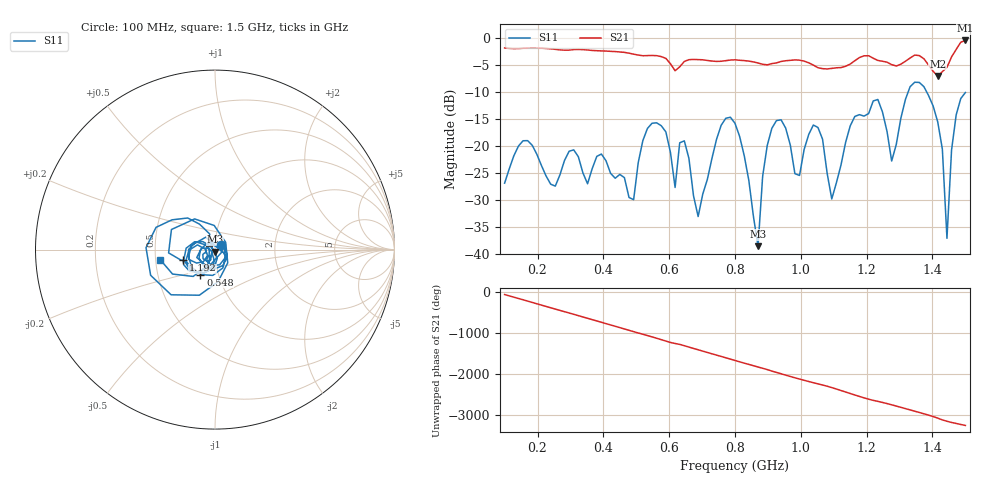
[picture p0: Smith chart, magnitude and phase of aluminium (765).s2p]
! NanoVNA-App
! Date: 2025-09-25 15:01:14
! Start: 100MHz Stop: 1,5GHz Points: 101
! S-Parameter data: F S11 S21 S12 S22
# Hz S RI R 50
!  Frequency  S11_Real  S11_Imag  S21_Real  S21_Imag  S12_Real  S12_Imag  S22_Real  S22_Imag
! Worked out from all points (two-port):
!   101 points, 100 MHz to 1.5 GHz, reference 50 ohm
!   highest |S21| = -0.52 dB at 1.5 GHz (marker M1); lowest = -7.1 dB at 1.416 GHz (marker M2)
!   |S21| within 3 dB of the highest: start of sweep to 576.4 MHz; 1.458 GHz to end of sweep (the widest 2 of 4)
!   lowest |S11| = -38.6 dB at 870 MHz (marker M3), VSWR 1.02, Z = 50 - j1.17 ohm
!   |S11| at or under -10 dB: start of sweep to 1.327 GHz; 1.382 GHz to end of sweep
!   S12 and S22 are empty: the file has one direction only
!   S11 on the Smith chart (normalised r, x): 100 MHz: 1.07, +0.06; 548 MHz: 0.82, -0.23; 1.192 GHz: 0.69, -0.09; 1.5 GHz: 0.53, -0.07
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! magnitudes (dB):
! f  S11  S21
! 100 MHz  -27.0  -1.9
! 156 MHz  -19.1  -2.0
! 338 MHz  -25.1  -2.2
! 492 MHz  -30.0  -3.1
! 548 MHz  -15.9  -3.3
! 576 MHz  -16.3  -3.5
! 618 MHz  -27.8  -6.1
! 646 MHz  -19.1  -4.4
! 688 MHz  -33.1  -4.1
! 800 MHz  -15.9  -4.1
! 870 MHz  -38.6  -4.7
! 912 MHz  -16.8  -4.8
! 996 MHz  -25.5  -4.2
! 1.038 GHz  -16.2  -5.1
! 1.094 GHz  -29.9  -5.7
! 1.192 GHz  -14.5  -3.4
! 1.276 GHz  -22.9  -5.0
! 1.346 GHz  -8.3  -3.2
! 1.416 GHz  -15.6  -7.1
! 1.444 GHz  -37.2  -5.5
! 1.458 GHz  -20.8  -3.6
! 1.5 GHz  -10.2  -0.5
